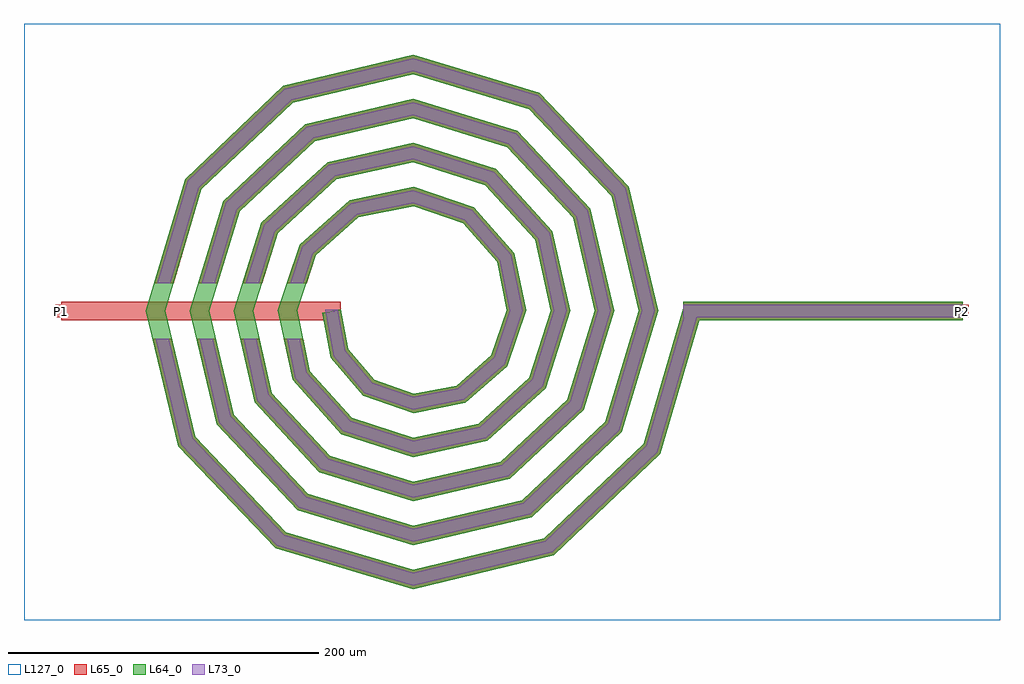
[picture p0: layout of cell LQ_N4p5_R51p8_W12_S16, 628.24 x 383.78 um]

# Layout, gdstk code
import gdstk
lib = gdstk.Library(unit=1e-6, precision=1e-09)
def R(c, l, rs):  # rectangles x0, y0, x1, y1
    for r in rs: c.add(gdstk.rectangle(r[:2], r[2:], *l))
def P(c, l, *ps):  # polygons
    for p in ps: c.add(gdstk.Polygon(p, *l))
L64_0 = (64, 0)
L65_0 = (65, 0)
L73_0 = (73, 0)
L127_0 = (127, 0)

lq_n4p5_r51p8_w12_s16 = lib.new_cell('LQ_N4p5_R51p8_W12_S16')
R(lq_n4p5_r51p8_w12_s16, L64_0, [(173.843,-6,353.843,6)])
P(lq_n4p5_r51p8_w12_s16, L64_0, [(-41.806,-24.712),(-25.046,-44.337),(0.459,-53.278),(28.201,-47.963),(50.439,-28.63),(60.356,0.41),(54.115,31.701),(32.205,56.548),(0.371,67.434),(-35.208,60.263),(-62.661,35.775),(-74.513,0.339),(-66.409,-38.721),(-39.339,-68.777),(0.311,-81.592),(42.239,-72.553),(74.896,-42.9),(88.672,0.288),(78.695,45.759),(46.458,81.017),(0.268,95.751),(-49.283,84.836),(-87.139,50.014),(-102.831,0.251),(-90.975,-52.808),(-53.567,-93.262),(0.235,-109.911),(56.335,-97.114),(99.387,-57.12),(116.991,0.222),(103.252,59.864),(60.67,105.512),(0.21,124.071),(-63.394,109.39),(-111.638,64.22),(-131.151,0.199),(-115.526,-66.925),(-67.769,-117.764),(0.189,-138.231),(70.457,-121.663),(123.891,-71.317),(145.312,0.18),(127.799,73.99),(74.864,130.019),(0.172,152.392),(-77.523,133.934),(-136.147,78.411),(-159.472,0.165),(-140.069,-81.057),(-81.957,-142.275),(0.158,-166.552),(84.591,-146.204),(148.403,-85.503),(174.087,1.695),(185.598,-1.695),(159.005,-91.98),(90.531,-157.116),(0.158,-178.972),(-88.445,-152.87),(-150.988,-86.985),(-171.892,0.165),(-146.735,84.911),(-83.438,144.859),(0.172,164.811),(81.377,140.599),(138.731,79.891),(157.73,0.18),(134.463,-77.844),(76.344,-132.604),(0.189,-150.65),(-74.311,-128.326),(-126.476,-72.795),(-143.569,0.199),(-122.189,70.78),(-69.246,120.349),(0.21,136.488),(67.249,116.051),(114.223,65.695),(129.408,0.222),(109.913,-63.72),(62.144,-108.097),(0.235,-122.327),(-60.191,-103.774),(-101.973,-58.59),(-115.246,0.251),(-97.633,56.665),(-55.036,95.849),(0.268,108.165),(53.14,91.492),(89.726,51.479),(101.084,0.288),(85.349,-49.617),(47.919,-83.604),(0.311,-94.002),(-46.098,-79.204),(-77.484,-44.356),(-86.921,0.339),(-73.057,42.582),(-40.788,71.366),(0.371,79.839),(39.071,66.906),(65.251,37.215),(72.756,0.41),(60.751,-35.566),(33.634,-59.14),(0.459,-65.673),(-32.07,-54.59),(-53.033,-30.043),(-58.298,-1.073),(-46.492,1.073)])
R(lq_n4p5_r51p8_w12_s16, L65_0, [(-226.395,-6,-46.395,6), (173.843,-6,353.843,6), (-230.395,-4,-222.395,4), (349.843,-4,357.843,4)])
P(lq_n4p5_r51p8_w12_s16, L65_0, [(-140.069,-81.057),(-81.957,-142.275),(0.158,-166.552),(84.592,-146.204),(148.403,-85.503),(174.087,1.695),(185.598,-1.695),(159.005,-91.98),(90.531,-157.117),(0.158,-178.972),(-88.445,-152.87),(-150.988,-86.985),(-167.535,-18),(-155.194,-18)],
  [(-115.526,-66.925),(-67.769,-117.764),(0.189,-138.231),(70.457,-121.663),(123.891,-71.317),(145.312,0.181),(127.799,73.99),(74.864,130.019),(0.172,152.392),(-77.523,133.934),(-136.147,78.411),(-154.08,18),(-166.597,18),(-146.735,84.911),(-83.439,144.86),(0.172,164.811),(81.377,140.599),(138.731,79.891),(157.73,0.181),(134.463,-77.844),(76.344,-132.604),(0.189,-150.65),(-74.312,-128.326),(-126.476,-72.795),(-139.308,-18),(-126.983,-18)],
  [(-90.976,-52.808),(-53.567,-93.262),(0.236,-109.911),(56.335,-97.114),(99.387,-57.12),(116.991,0.222),(103.252,59.864),(60.67,105.512),(0.21,124.071),(-63.394,109.39),(-111.638,64.22),(-125.639,18),(-138.177,18),(-122.189,70.78),(-69.246,120.35),(0.21,136.488),(67.249,116.052),(114.223,65.695),(129.408,0.222),(109.913,-63.72),(62.144,-108.098),(0.236,-122.327),(-60.191,-103.774),(-101.973,-58.591),(-111.129,-18),(-98.827,-18)],
  [(-66.409,-38.721),(-39.339,-68.777),(0.311,-81.592),(42.239,-72.553),(74.896,-42.9),(88.672,0.288),(78.695,45.759),(46.458,81.017),(0.268,95.751),(-49.283,84.836),(-87.139,50.014),(-97.133,18),(-109.705,18),(-97.634,56.665),(-55.036,95.849),(0.268,108.165),(53.14,91.492),(89.726,51.479),(101.084,0.288),(85.349,-49.617),(47.919,-83.604),(0.311,-94.002),(-46.098,-79.204),(-77.484,-44.356),(-83.049,-18),(-70.784,-18)],
  [(-25.046,-44.337),(0.459,-53.278),(28.201,-47.963),(50.439,-28.63),(60.356,0.41),(54.115,31.701),(32.205,56.548),(0.371,67.434),(-35.208,60.263),(-62.661,35.775),(-68.495,18),(-81.124,18),(-73.057,42.582),(-40.788,71.366),(0.371,79.839),(39.071,66.906),(65.251,37.215),(72.756,0.41),(60.751,-35.566),(33.635,-59.14),(0.459,-65.673),(-32.07,-54.59),(-53.033,-30.043),(-58.298,-1.073),(-46.492,1.073),(-41.806,-24.712)])
R(lq_n4p5_r51p8_w12_s16, L73_0, [(173.843,-4,353.843,4)])
P(lq_n4p5_r51p8_w12_s16, L73_0, [(-141.889,-82.045),(-83.038,-144.041),(0.106,-168.622),(85.581,-148.023),(150.17,-86.582),(176.006,1.13),(183.68,-1.13),(157.238,-90.9),(89.541,-155.298),(0.106,-176.902),(-87.364,-151.104),(-149.168,-85.997),(-165.478,-18),(-157.251,-18)],
  [(-117.351,-67.904),(-68.859,-119.525),(0.126,-140.301),(71.438,-123.486),(125.653,-72.405),(147.381,0.12),(129.621,74.973),(75.95,131.782),(0.115,154.462),(-78.509,135.755),(-137.911,79.494),(-156.166,18),(-164.511,18),(-144.97,83.827),(-82.453,143.039),(0.115,162.741),(80.292,138.836),(136.909,78.908),(155.661,0.12),(132.701,-76.756),(75.363,-130.78),(0.126,-148.58),(-73.221,-126.566),(-124.651,-71.817),(-137.253,-18),(-129.037,-18)],
  [(-92.808,-53.772),(-54.671,-95.014),(0.157,-111.98),(57.303,-98.945),(101.141,-58.22),(119.061,0.148),(105.081,60.836),(61.767,107.268),(0.14,126.141),(-64.369,111.216),(-113.396,65.313),(-127.728,18),(-136.087,18),(-120.431,69.687),(-68.271,118.523),(0.14,134.419),(66.153,114.295),(112.395,64.724),(127.338,0.148),(108.159,-62.62),(61.176,-106.267),(0.157,-120.257),(-59.087,-102.022),(-100.14,-57.627),(-109.079,-18),(-100.878,-18)],
  [(-68.255,-39.66),(-40.466,-70.515),(0.208,-83.661),(43.185,-74.395),(76.638,-44.02),(90.74,0.192),(80.534,46.713),(47.572,82.763),(0.179,97.82),(-50.241,86.671),(-88.888,51.122),(-99.229,18),(-107.609,18),(-95.884,55.556),(-54.077,94.013),(0.179,106.096),(52.026,89.746),(87.887,50.525),(99.015,0.192),(83.607,-48.498),(46.972,-81.762),(0.208,-91.934),(-44.971,-77.466),(-75.638,-43.417),(-81.005,-18),(-72.828,-18)],
  [(-26.216,-46.046),(0.306,-55.344),(29.107,-49.826),(52.158,-29.786),(62.423,0.274),(55.971,32.62),(33.35,58.274),(0.247,69.502),(-36.138,62.114),(-64.394,36.909),(-70.6,18),(-79.019,18),(-71.324,41.447),(-39.858,69.516),(0.247,77.771),(37.927,65.18),(63.395,36.296),(70.689,0.274),(59.033,-34.41),(32.729,-57.277),(0.306,-63.607),(-30.899,-52.881),(-51.162,-29.155),(-56.331,0.715),(-48.46,0.715),(-43.677,-25.601)])
R(lq_n4p5_r51p8_w12_s16, L127_0, [(-250.395,-198.972,377.843,184.811)])
lq_n4p5_r51p8_w12_s16.add(gdstk.Label('P2', (353.843,0), layer=65, texttype=0))
lq_n4p5_r51p8_w12_s16.add(gdstk.Label('P1', (-226.395,0), layer=65, texttype=0))
lq_n4p5_r51p8_w12_s16.add(gdstk.Label('P2', (357.843,0), layer=145, texttype=0))
lq_n4p5_r51p8_w12_s16.add(gdstk.Label('P1', (-230.395,0), layer=145, texttype=0))

lib.write_gds('LQ_N4p5_R51p8_W12_S16.gds')
